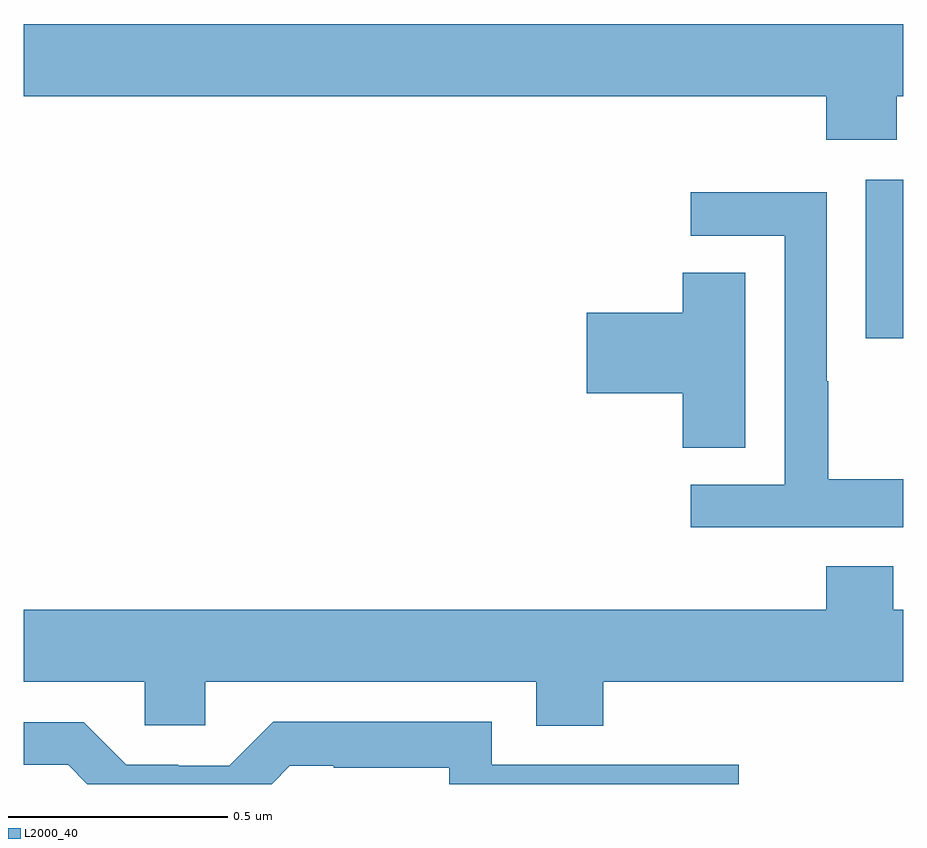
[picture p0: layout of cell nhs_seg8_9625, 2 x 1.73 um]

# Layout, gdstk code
import gdstk
lib = gdstk.Library(unit=1e-6, precision=1e-09)
def R(c, l, rs):  # rectangles x0, y0, x1, y1
    for r in rs: c.add(gdstk.rectangle(r[:2], r[2:], *l))
def P(c, l, *ps):  # polygons
    for p in ps: c.add(gdstk.Polygon(p, *l))
L2000_40 = (2000, 40)

nhs_seg8_9625 = lib.new_cell('nhs_seg8_9625')
R(nhs_seg8_9625, L2000_40, [(239.915,1151.913,240,1152.274)])
P(nhs_seg8_9625, L2000_40, [(239.985,1152.464),(240,1152.464),(240,1152.628),(238,1152.628),(238,1152.464),(239.825,1152.464),(239.825,1152.365),(239.985,1152.365)],
  [(240,1151.593),(239.829,1151.593),(239.829,1151.816),(239.826,1151.816),(239.826,1152.246),(239.517,1152.246),(239.517,1152.147),(239.73,1152.147),(239.73,1151.58),(239.517,1151.58),(239.517,1151.484),(240,1151.484)],
  [(239.641,1152.062),(239.498,1152.062),(239.498,1151.972),(239.28,1151.972),(239.28,1151.789),(239.498,1151.789),(239.498,1151.665),(239.641,1151.665)],
  [(239.318,1151.132),(240,1151.132),(240,1151.296),(239.977,1151.296),(239.977,1151.395),(239.825,1151.395),(239.825,1151.296),(238,1151.296),(238,1151.132),(238.275,1151.132),(238.275,1151.034),(238.413,1151.034),(238.413,1151.132),(239.165,1151.132),(239.165,1151.033),(239.318,1151.033)],
  [(238.605,1150.941),(238.705,1150.941),(238.705,1150.937),(238.968,1150.937),(238.968,1150.9),(239.626,1150.9),(239.626,1150.944),(239.064,1150.944),(239.064,1151.041),(238.567,1151.041),(238.467,1150.941),(238.352,1150.941),(238.352,1150.944),(238.233,1150.944),(238.137,1151.04),(238,1151.04),(238,1150.944),(238.101,1150.944),(238.145,1150.9),(238.564,1150.9)])

lib.write_gds('nhs_seg8_9625.gds')
